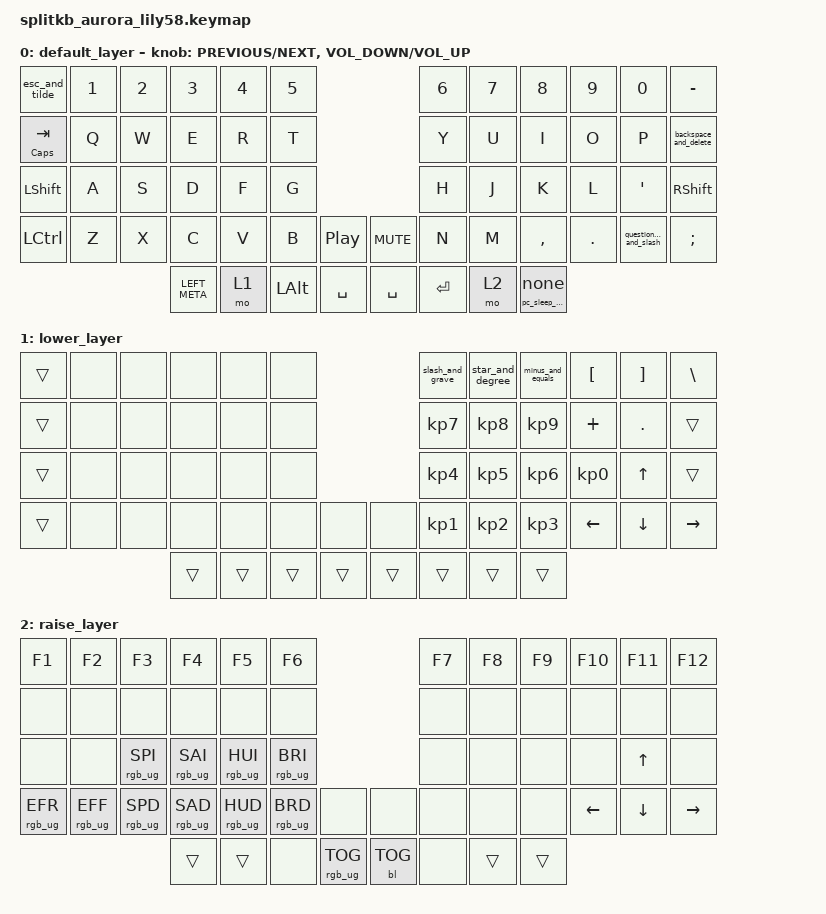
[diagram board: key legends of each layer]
/*
 * Copyright (c) 2020 The ZMK Contributors
 *
 * SPDX-License-Identifier: MIT
 */

#include <behaviors/unicode.dtsi>

/* https://github.com/urob/zmk-unicode/tree/main/include/zmk-unicode/keys */

#include <zmk-unicode/keys-extra.h>  // All glyphs except CJK
#include <behaviors.dtsi>
#include <dt-bindings/zmk/backlight.h>
#include <dt-bindings/zmk/keys.h>
#include <dt-bindings/zmk/rgb.h>

&sensors { triggers-per-rotation = <36>; };

&led_strip { chain-length = <34>; };

&uc { default-mode = <UC_MODE_WIN_COMPOSE>; };

/ {
    macros {
        pc_sleep_macro: pc_sleep_macro {
            compatible = "zmk,behavior-macro";
            #binding-cells = <0>;
            bindings = <&kp LG(X) &kp U &kp S>;
            label = "PC_SLEEP_MACRO";
        };
    };

    behaviors {
        questionmark_and_slash: questionmark_and_slash {
            compatible = "zmk,behavior-mod-morph";
            label = "QUESTIONMARK_AND_SLASH";
            bindings = <&kp QUESTION>, <&kp SLASH>;

            #binding-cells = <0>;
            mods = <(MOD_LSFT|MOD_RSFT)>;
        };

        backspace_and_delete: backspace_and_delete {
            compatible = "zmk,behavior-mod-morph";
            label = "BACKSPACE_AND_DELETE";
            bindings = <&kp BACKSPACE>, <&kp DELETE>;

            #binding-cells = <0>;
            mods = <(MOD_LSFT|MOD_RSFT)>;
        };

        esc_and_tilde: esc_and_tilde {
            compatible = "zmk,behavior-mod-morph";
            label = "ESC_AND_TILDE";
            bindings = <&kp ESCAPE>, <&kp TILDE>;

            #binding-cells = <0>;
            mods = <(MOD_LSFT|MOD_RSFT)>;
        };

        slash_and_grave: slash_and_grave {
            compatible = "zmk,behavior-mod-morph";
            label = "SLASH_AND_GRAVE";
            bindings = <&kp KP_SLASH>, <&kp GRAVE>;

            #binding-cells = <0>;
            mods = <(MOD_LSFT|MOD_RSFT)>;
        };

        minus_and_equals: minus_and_equals {
            compatible = "zmk,behavior-mod-morph";
            label = "MINUS_AND_EQUALS";
            bindings = <&kp KP_MINUS>, <&kp EQUAL>;

            #binding-cells = <0>;
            mods = <(MOD_RSFT|MOD_LSFT)>;
        };

        star_and_degree: star_and_degree {
            compatible = "zmk,behavior-mod-morph";
            label = "STAR_AND_DEGREE";
            bindings = <&kp KP_MULTIPLY>, <&uc UC_DEGREE_SIGN 0>;

            #binding-cells = <0>;
            mods = <(MOD_LSFT|MOD_RSFT)>;
        };

        pc_sleep: pc_sleep {
            compatible = "zmk,behavior-hold-tap";
            label = "PC_SLEEP";
            bindings = <&pc_sleep_macro>, <&none>;

            #binding-cells = <2>;
            tapping-term-ms = <1000>;
        };

        tab_and_capslock: tab_and_capslock {
            compatible = "zmk,behavior-hold-tap";
            label = "TAB_AND_CAPSLOCK";
            bindings = <&kp>, <&kp>;

            #binding-cells = <2>;
            tapping-term-ms = <250>;
            flavor = "tap-preferred";
        };
    };

    keymap {
        compatible = "zmk,keymap";

        default_layer {
            // ------------------------------------------------------------------------------------------------------------
            // |  ESC  |  1  |  2  |  3   |  4   |  5   |                   |  6   |  7    |  8    |  9   |   0   |   `   |
            // |  TAB  |  Q  |  W  |  E   |  R   |  T   |                   |  Y   |  U    |  I    |  O   |   P   |   -   |
            // |  CTRL |  A  |  S  |  D   |  F   |  G   |                   |  H   |  J    |  K    |  L   |   ;   |   '   |
            // | SHIFT |  Z  |  X  |  C   |  V   |  B   |   "["  |  |  "]"  |  N   |  M    |  ,    |  .   |   /   | SHIFT |
            //                     | ALT  | GUI  | LOWER|  SPACE |  | ENTER | RAISE| BSPC  | GUI   |

            bindings = <
&esc_and_tilde                  &kp N1  &kp N2  &kp N3         &kp N4  &kp N5                                        &kp N6     &kp N7  &kp N8         &kp N9   &kp N0                   &kp MINUS
&tab_and_capslock CAPSLOCK TAB  &kp Q   &kp W   &kp E          &kp R   &kp T                                         &kp Y      &kp U   &kp I          &kp O    &kp P                    &backspace_and_delete
&kp LEFT_SHIFT                  &kp A   &kp S   &kp D          &kp F   &kp G                                         &kp H      &kp J   &kp K          &kp L    &kp SINGLE_QUOTE         &kp RIGHT_SHIFT
&kp LEFT_CONTROL                &kp Z   &kp X   &kp C          &kp V   &kp B         &kp C_PLAY_PAUSE    &kp C_MUTE  &kp N      &kp M   &kp COMMA      &kp DOT  &questionmark_and_slash  &kp SEMICOLON
                                                &kp LEFT_META  &mo 1   &kp LEFT_ALT  &kp SPACE           &kp SPACE   &kp ENTER  &mo 2   &pc_sleep 0 0
            >;

            sensor-bindings =
                <&inc_dec_kp C_PREVIOUS C_NEXT>,
                <&inc_dec_kp C_VOLUME_DOWN C_VOLUME_UP>;
        };

        lower_layer {
            bindings = <
&trans  &none  &none  &none   &none   &none                     &slash_and_grave  &star_and_degree  &minus_and_equals  &kp LEFT_BRACKET  &kp RIGHT_BRACKET  &kp BACKSLASH
&trans  &none  &none  &none   &none   &none                     &kp KP_NUMBER_7   &kp KP_NUMBER_8   &kp KP_NUMBER_9    &kp PLUS          &kp DOT            &trans
&trans  &none  &none  &none   &none   &none                     &kp KP_NUMBER_4   &kp KP_NUMBER_5   &kp KP_NUMBER_6    &kp KP_NUMBER_0   &kp UP             &trans
&trans  &none  &none  &none   &none   &none   &none     &none   &kp KP_NUMBER_1   &kp KP_NUMBER_2   &kp KP_NUMBER_3    &kp LEFT          &kp DOWN           &kp RIGHT
                      &trans  &trans  &trans  &trans    &trans  &trans            &trans            &trans
            >;
        };

        raise_layer {
            bindings = <
&kp F1           &kp F2           &kp F3           &kp F4           &kp F5           &kp F6                                          &kp F7  &kp F8  &kp F9  &kp F10         &kp F11         &kp F12
&none            &none            &none            &none            &none            &none                                           &none   &none   &none   &none           &none           &none
&none            &none            &rgb_ug RGB_SPI  &rgb_ug RGB_SAI  &rgb_ug RGB_HUI  &rgb_ug RGB_BRI                                 &none   &none   &none   &none           &kp UP_ARROW    &none
&rgb_ug RGB_EFR  &rgb_ug RGB_EFF  &rgb_ug RGB_SPD  &rgb_ug RGB_SAD  &rgb_ug RGB_HUD  &rgb_ug RGB_BRD  &none              &none       &none   &none   &none   &kp LEFT_ARROW  &kp DOWN_ARROW  &kp RIGHT_ARROW
                                                   &trans           &trans           &none            &rgb_ug RGB_TOG    &bl BL_TOG  &none   &trans  &trans
            >;
        };
    };
};
